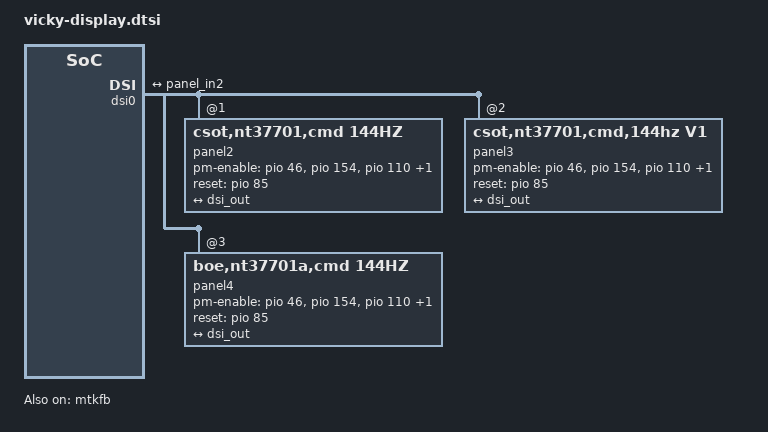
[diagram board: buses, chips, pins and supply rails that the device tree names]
/* Copyright (c) 2021, The Linux Foundation. All rights reserved.
 *
 * This program is free software; you can redistribute it and/or modify
 * it under the terms of the GNU General Public License version 2 and
 * only version 2 as published by the Free Software Foundation.
 *
 * This program is distributed in the hope that it will be useful,
 * but WITHOUT ANY WARRANTY; without even the implied warranty of
 * MERCHANTABILITY or FITNESS FOR A PARTICULAR PURPOSE.  See the
 * GNU General Public License for more details.
 */

&dispsys_config {
	force_dyn_mipi_change;
};

&mtk_leds {
	/delete-property/ compatible;
	/delete-property/ led_mode;
	/delete-property/ gate_enable;
	/delete-property/ pwm_config;

	compatible = "mediatek,disp-leds";
	backlight {
		label = "lcd-backlight";
		led_mode = <4>;
		max-brightness = <3514>;
		max-hw-brightness = <3514>;
		default-brightness = <2577>;
	};
};

&pio {
	mtkfb_pins_lcm_rst_out1_gpio: lcm_rst_out1_gpio {
		pins_cmd_dat {
			pinmux = <PINMUX_GPIO85__FUNC_GPIO85>;
			slew-rate = <1>;
			output-high;
		};
	};

	mtkfb_pins_lcm_rst_out0_gpio: lcm_rst_out0_gpio {
		pins_cmd_dat {
			pinmux = <PINMUX_GPIO85__FUNC_GPIO85>;
			slew-rate = <1>;
			output-low;
		};
	};
	mtkfb_pins_lcm_dsi_te: lcm_dsi_te {
		pins_cmd_dat {
			pinmux = <PINMUX_GPIO83__FUNC_DSI_TE>;
		};
	};

	mtkfb_pins_oled_vci_en: oled_vci_en_gpio {
		pins_cmd_dat {
			pinmux = <PINMUX_GPIO110__FUNC_GPIO110>;
			slew-rate = <1>;
			output-low;
		};
	};

	mtkfb_pins_oled_vio_en: oled_vio_en_gpio {
		pins_cmd_dat {
			pinmux = <PINMUX_GPIO46__FUNC_GPIO46>;
			slew-rate = <1>;
			output-low;
		};
	};

	mtkfb_pins_oled_dvdd_en: oled_dvdd_en_gpio {
		pins_cmd_dat {
			pinmux = <PINMUX_GPIO154__FUNC_GPIO154>;
			slew-rate = <1>;
			output-low;
		};
	};

	mtkfb_pins_oled_avdd_en: oled_avdd_en_gpio {
		pins_cmd_dat {
			pinmux = <PINMUX_GPIO12__FUNC_GPIO12>;
			slew-rate = <1>;
			output-low;
		};
	};
};

&mtkfb {
	/delete-property/ pinctrl-names;
	/delete-property/ pinctrl-0;
	/delete-property/ pinctrl-1;
	/delete-property/ pinctrl-2;
	/delete-property/ pinctrl-3;
	/delete-property/ pinctrl-4;
	/delete-property/ pinctrl-5;
	/delete-property/ pinctrl-6;

	pinctrl-names = "lcm_rst_out0_gpio", "mode_te_te",
		"oled_vci_en_gpio", "oled_vio_en_gpio",
		"oled_dvdd_en_gpio", "oled_avdd_en_gpio";
	pinctrl-0 = <&mtkfb_pins_lcm_rst_out0_gpio>;
	pinctrl-1 = <&mtkfb_pins_lcm_dsi_te>;
	pinctrl-2 = <&mtkfb_pins_oled_vci_en>;
	pinctrl-3 = <&mtkfb_pins_oled_vio_en>;
	pinctrl-4 = <&mtkfb_pins_oled_dvdd_en>;
	pinctrl-5 = <&mtkfb_pins_oled_avdd_en>;
	status = "okay";

};

&dsi0 {
	status = "okay";

	panel1@0 {
		/delete-property/ compatible;
		/delete-property/ pm-enable-gpios;
		/delete-property/ reset-gpios;
		/delete-property/gate-ic;

		compatible = "mot,dummy,vdo,60hz";
		reg = <0>;
		pinctrl-names = "default";
		port {
            panel_in1: endpoint {
                remote-endpoint = <&dsi_out>;
            };
        };

	};


	panel2@0 {
		/delete-property/ compatible;
		/delete-property/ pm-enable-gpios;
		/delete-property/ reset-gpios;
		/delete-property/gate-ic;

		compatible = "csot,nt37701,cmd,144hz";
		reg = <1>;
		pm-enable-gpios = <&pio 46 0>,
                          <&pio 154 0>,
                          <&pio 110 0>,
                          <&pio 12 0>;
		reset-gpios = <&pio 85 0>;
		pinctrl-names = "default";
		lhbm-enable;
		port {
			panel_in2: endpoint {
				remote-endpoint = <&dsi_out>;
			};
		};

	};

	panel3@0 {
		/delete-property/ compatible;
		/delete-property/ pm-enable-gpios;
		/delete-property/ reset-gpios;
		/delete-property/gate-ic;

		compatible = "csot,nt37701,cmd,144hz,v1";
		reg = <2>;
		pm-enable-gpios = <&pio 46 0>,
                          <&pio 154 0>,
                          <&pio 110 0>,
                          <&pio 12 0>;
		reset-gpios = <&pio 85 0>;
		pinctrl-names = "default";
		lhbm-enable;
		port {
			panel_in3: endpoint {
				remote-endpoint = <&dsi_out>;
			};
		};

	};

	panel4@0 {
		/delete-property/ compatible;
		/delete-property/ pm-enable-gpios;
		/delete-property/ reset-gpios;
		/delete-property/gate-ic;

		compatible = "boe,nt37701a,cmd,144hz";
		reg = <3>;
		pm-enable-gpios = <&pio 46 0>,
                          <&pio 154 0>,
                          <&pio 110 0>,
                          <&pio 12 0>;
		reset-gpios = <&pio 85 0>;
		pinctrl-names = "default";
		lhbm-enable;
		port {
			panel_in4: endpoint {
				remote-endpoint = <&dsi_out>;
			};
		};

	};

	ports {
		port {
			dsi_out: endpoint {
				remote-endpoint = <&panel_in2>;
			};
		};
	};
};
